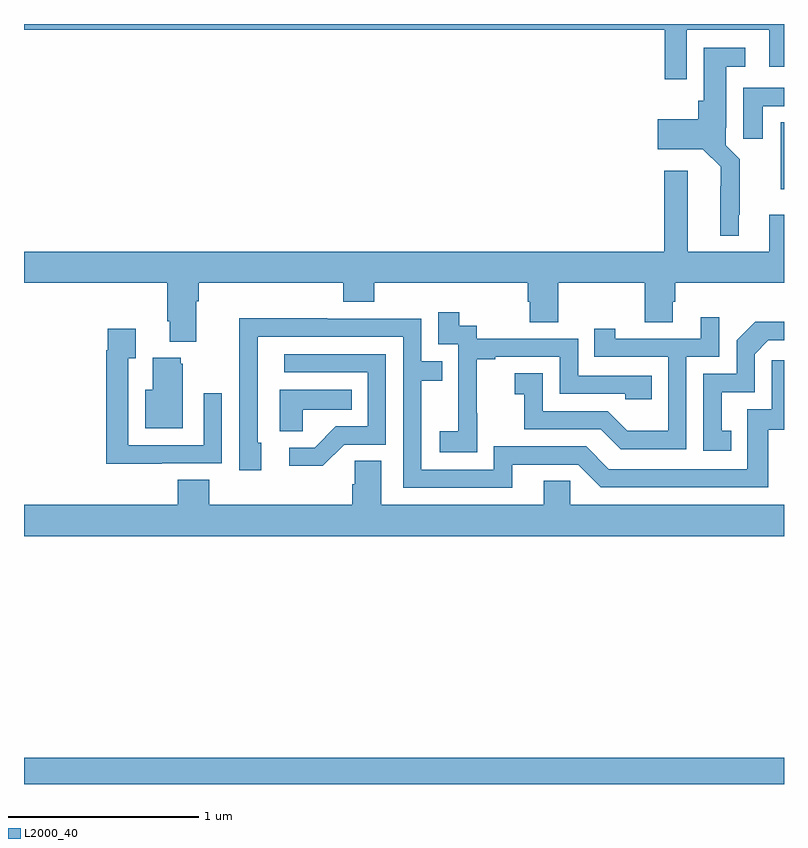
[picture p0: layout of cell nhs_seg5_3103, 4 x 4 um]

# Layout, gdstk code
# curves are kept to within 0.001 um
import gdstk
lib = gdstk.Library(unit=1e-6, precision=1e-09)
def R(c, l, rs):  # rectangles x0, y0, x1, y1
    for r in rs: c.add(gdstk.rectangle(r[:2], r[2:], *l))
def P(c, l, *ps):  # polygons
    for p in ps: c.add(gdstk.Polygon(p, *l))
L2000_40 = (2000, 40)

nhs_seg5_3103 = lib.new_cell('nhs_seg5_3103')
R(nhs_seg5_3103, L2000_40, [(291,844.799,295,844.936), (294.983,847.929,295,848.282)])
P(nhs_seg5_3103, L2000_40, [(294.489,848.768),(294.923,848.768),(294.923,848.574),(295,848.574),(295,848.799),(291,848.799),(291,848.768),(294.373,848.768),(294.373,848.508),(294.489,848.508)],
  [(294.763,847.795),(294.767,847.795),(294.767,848.086),(294.693,848.16),(294.693,848.254),(294.697,848.254),(294.697,848.573),(294.796,848.573),(294.796,848.674),(294.578,848.674),(294.578,848.394),(294.548,848.394),(294.548,848.299),(294.336,848.299),(294.336,848.141),(294.573,848.141),(294.666,848.048),(294.665,847.685),(294.763,847.685)],
  [(294.889,848.367),(295,848.367),(295,848.463),(294.785,848.463),(294.785,848.196),(294.889,848.196)],
  [(291.907,847.34),(291.92,847.34),(291.92,847.436),(292.679,847.436),(292.679,847.337),(292.844,847.337),(292.844,847.436),(293.651,847.436),(293.651,847.338),(293.663,847.338),(293.663,847.228),(293.811,847.228),(293.811,847.436),(294.268,847.436),(294.268,847.228),(294.415,847.228),(294.415,847.338),(294.428,847.338),(294.428,847.436),(295,847.436),(295,847.795),(294.923,847.795),(294.923,847.6),(294.493,847.6),(294.493,848.026),(294.371,848.026),(294.371,847.6),(291,847.6),(291,847.436),(291.755,847.436),(291.755,847.234),(291.767,847.234),(291.767,847.127),(291.907,847.127)],
  [(293.385,846.751),(293.384,846.751),(293.384,847.035),(293.479,847.035),(293.479,847.047),(293.82,847.047),(293.82,846.852),(294.165,846.852),(294.165,846.825),(294.305,846.825),(294.305,846.948),(293.916,846.948),(293.916,847.143),(293.382,847.143),(293.382,847.212),(293.29,847.212),(293.29,847.282),(293.181,847.282),(293.181,847.113),(293.286,847.113),(293.286,846.884),(293.285,846.884),(293.285,846.655),(293.187,846.655),(293.187,846.545),(293.385,846.545)],
  [(294.486,847.047),(294.66,847.047),(294.66,847.255),(294.563,847.255),(294.563,847.143),(294.112,847.143),(294.112,847.195),(294.001,847.195),(294.001,847.047),(294.39,847.047),(294.39,846.658),(294.176,846.658),(294.072,846.762),(293.73,846.762),(293.73,846.961),(293.583,846.961),(293.583,846.851),(293.632,846.851),(293.632,846.666),(294.035,846.666),(294.14,846.561),(294.486,846.561)],
  [(293.569,846.48),(293.916,846.48),(294.036,846.36),(294.916,846.36),(294.916,846.663),(295,846.663),(295,847.03),(294.936,847.03),(294.936,846.771),(294.807,846.771),(294.807,846.456),(294.078,846.456),(293.958,846.576),(293.472,846.576),(293.472,846.453),(293.091,846.453),(293.091,846.922),(293.201,846.922),(293.201,847.023),(293.091,847.023),(293.091,847.248),(292.595,847.248),(292.595,847.25),(292.132,847.25),(292.132,846.943),(292.134,846.943),(292.134,846.45),(292.249,846.45),(292.249,846.594),(292.23,846.594),(292.23,847.152),(292.995,847.152),(292.995,846.357),(293.569,846.357)],
  [(294.722,846.657),(294.673,846.657),(294.673,846.861),(294.846,846.861),(294.846,847.062),(294.918,847.134),(295,847.134),(295,847.232),(294.848,847.232),(294.75,847.134),(294.75,846.957),(294.576,846.957),(294.576,846.552),(294.722,846.552)],
  [(291.725,846.486),(292.041,846.486),(292.041,846.856),(291.945,846.856),(291.945,846.582),(291.549,846.582),(291.549,847.039),(291.589,847.039),(291.589,847.195),(291.441,847.195),(291.441,847.082),(291.433,847.082),(291.433,846.485),(291.725,846.485)],
  [(292.686,846.585),(292.905,846.585),(292.905,847.062),(292.371,847.062),(292.371,846.966),(292.809,846.966),(292.809,846.681),(292.64,846.681),(292.529,846.57),(292.395,846.57),(292.395,846.473),(292.573,846.473)],
  [(291.835,847.011),(291.824,847.011),(291.824,847.042),(291.677,847.042),(291.677,846.874),(291.638,846.874),(291.638,846.671),(291.835,846.671)],
  [(292.467,846.77),(292.724,846.77),(292.724,846.874),(292.346,846.874),(292.346,846.655),(292.467,846.655)],
  [(295,846.268),(293.874,846.268),(293.874,846.395),(293.735,846.395),(293.735,846.268),(292.879,846.268),(292.879,846.5),(292.74,846.5),(292.74,846.377),(292.727,846.377),(292.727,846.268),(291.974,846.268),(291.974,846.401),(291.809,846.401),(291.809,846.268),(291,846.268),(291,846.104),(295,846.104)])

lib.write_gds('nhs_seg5_3103.gds')
